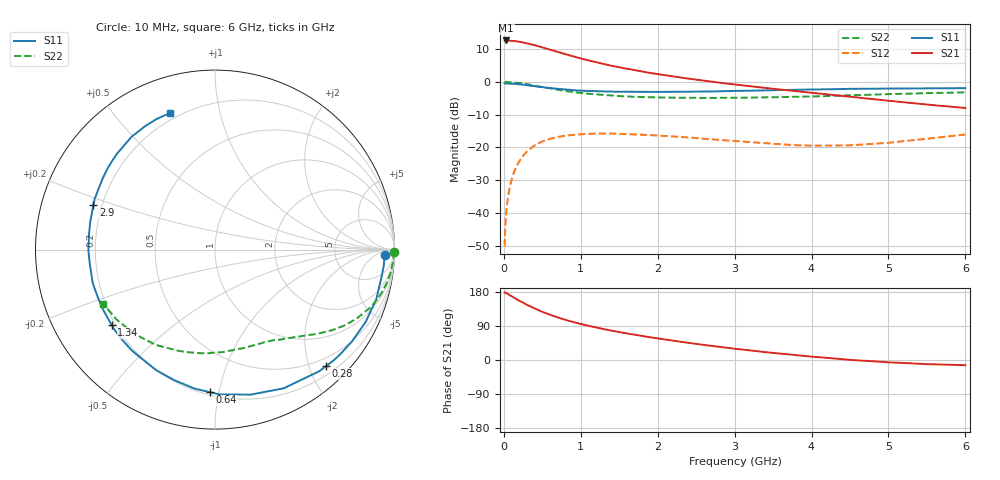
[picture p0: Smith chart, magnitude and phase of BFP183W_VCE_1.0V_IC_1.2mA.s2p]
! Infineon Technologies  Discrete & RF Semiconductors
! BFP183W
! VCE = 1.0 V,  IC =  1.2 mA
! Common Emitter S-Parameters:  Jan 2016
# GHz  S  MA  R  50
!  f  S11  S21  S12  S22
! GHz  MAG  ANG  MAG  ANG  MAG  ANG  MAG  ANG
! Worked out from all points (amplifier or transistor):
!   210 points, 10 MHz to 6 GHz, reference 50 ohm
!   highest |S21| = 12.6 dB at 30 MHz (marker M1)
!   |S21| within 3 dB of that: start of sweep to 629.6 MHz
!   unconditionally stable (mu >= 1): 2.539 GHz to end of sweep
!   at 185 MHz: K = 0.08, MSG = 18.6 dB, |S12| = -24.9 dB
!   at 1.52 GHz: K = 0.59, MSG = 10.1 dB, |S12| = -15.9 dB
!   at 6 GHz: K = 1.26, MAG = 1.0 dB, |S12| = -16.1 dB
!   S11 on the Smith chart (normalised r, x): 10 MHz: 27, -17; 280 MHz: 0.35, -2.29; 640 MHz: 0.22, -0.94; 1.34 GHz: 0.19, -0.32; 2.9 GHz: 0.17, +0.17; 6 GHz: 0.17, +0.71
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0.01  0.9479 -1.9  4.237 178.2  0.0031 90.5  0.9984 -0.8
0.02  0.9444 -3.6  4.275 177.8  0.0064 85.8  0.9921 -1.5
0.03  0.9449 -5.2  4.284 176.7  0.0098 88.0  0.9961 -2.2
0.065  0.9387 -11.2  4.255 172.4  0.0208 82.3  0.9916 -4.8
0.11  0.9369 -18.7  4.216 167.1  0.0347 78.3  0.9846 -8.0
0.15  0.9313 -25.7  4.189 162.2  0.0469 74.6  0.9755 -10.9
0.2  0.9188 -33.9  4.091 156.4  0.0609 69.7  0.9604 -14.3
0.28  0.8969 -46.3  3.916 148.0  0.0815 62.1  0.93 -19.4
0.4  0.8623 -63.7  3.634 136.0  0.1069 52.1  0.8773 -26.1
0.5  0.8319 -76.3  3.363 127.0  0.1231 45.2  0.8346 -30.5
0.64  0.7944 -92.2  3.008 116.6  0.1385 36.6  0.7782 -35.7
0.8  0.762 -107.4  2.646 105.8  0.1507 28.8  0.726 -40.6
1.02  0.7317 -124.3  2.241 94.2  0.159 20.4  0.6731 -46.0
1.2  0.7208 -136.0  1.986 85.7  0.1624 14.6  0.644 -50.0
1.34  0.7127 -143.9  1.824 79.9  0.1625 11.1  0.626 -52.7
1.6  0.7052 -156.7  1.584 69.9  0.1598 6.0  0.6 -57.6
2.02  0.7019 -173.5  1.301 56.3  0.1513 0.1  0.5779 -65.7
2.9  0.7213 159.9  0.941 32.3  0.1279 -4.7  0.5707 -83.7
3.1  0.729 154.7  0.884 27.6  0.1226 -4.2  0.573 -88.1
4.1  0.7662 133.6  0.663 7.4  0.1062 7.4  0.6019 -112.0
5.1  0.7912 118.3  0.502 -7.0  0.121 23.1  0.6531 -136.0
6  0.8007 108.4  0.399 -13.7  0.1569 28.8  0.6919 -154.2
